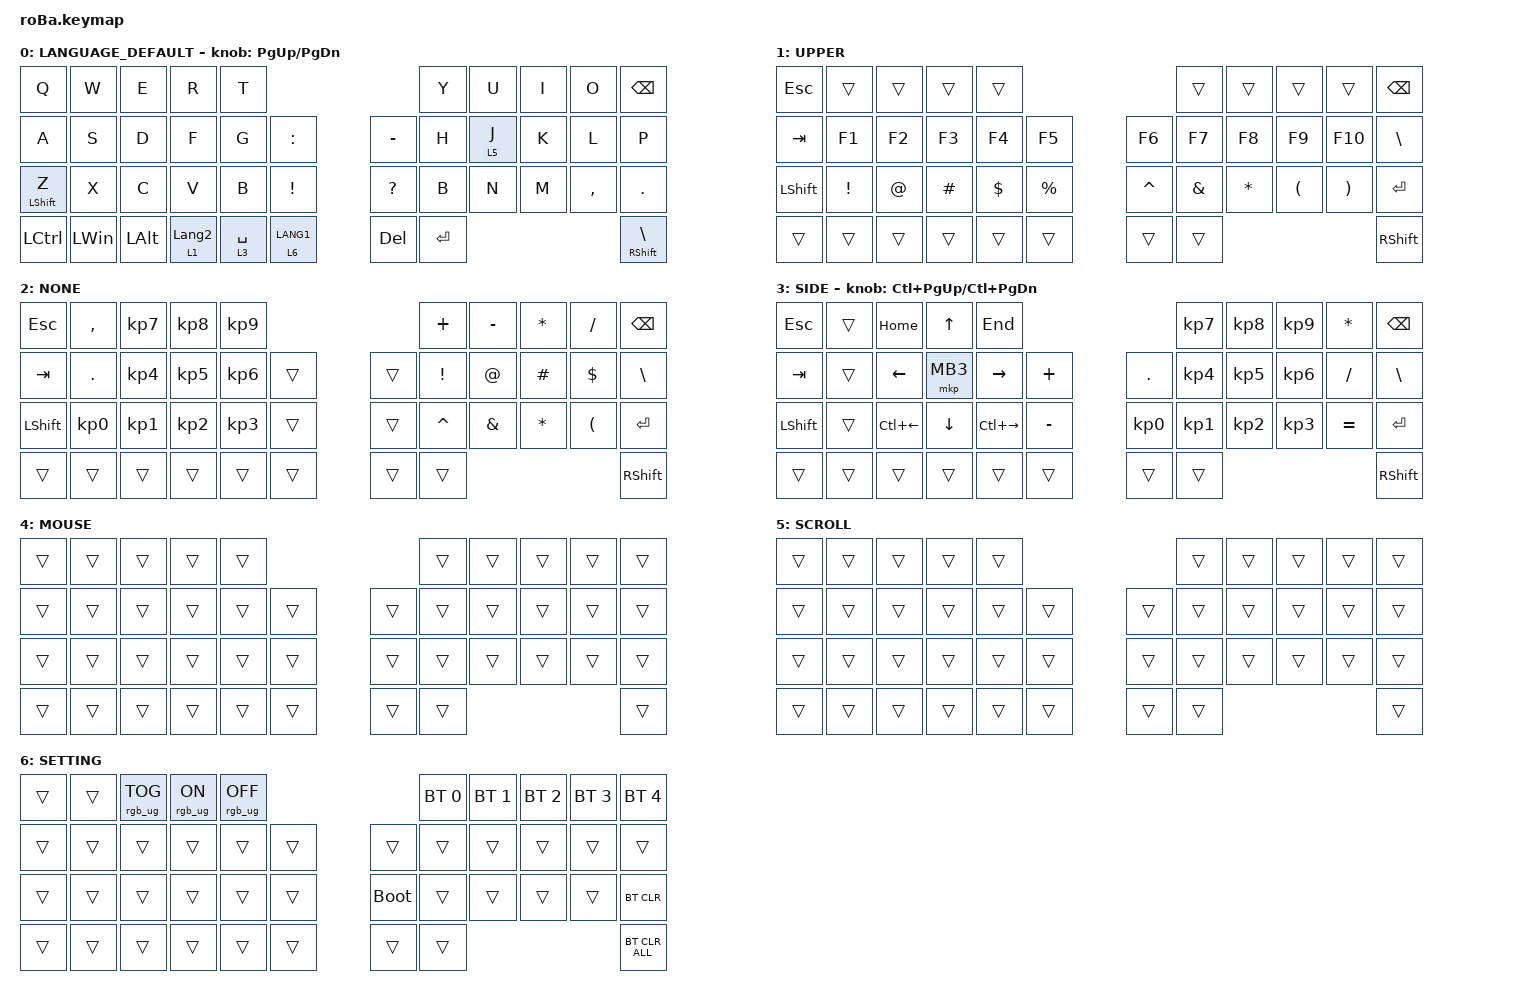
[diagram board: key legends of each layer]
#include <behaviors.dtsi>
#include <dt-bindings/zmk/bt.h>
#include <dt-bindings/zmk/keys.h>
#include <dt-bindings/zmk/pointing.h>
#include <dt-bindings/zmk/rgb.h>

&mt {
    flavor = "balanced";
    quick-tap-ms = <0>;
};

&trackball {
    automouse-layer = <4>;
    scroll-layers = <5>;

    // arrows {
    //     layers = <3>;
    //     bindings =
    //         <&kp RIGHT_ARROW>,
    //         <&kp LEFT_ARROW>,
    //         <&kp UP_ARROW>,
    //         <&kp DOWN_ARROW>;
    //     tick = <10>;
    //     wait-ms = <5>;
    //     tap-ms = <5>;
    // };
};

/ {
    combos {
        compatible = "zmk,combos";

        tab {
            bindings = <&kp TAB>;
            key-positions = <11 12>;
        };

        shift_tab {
            bindings = <&kp LS(TAB)>;
            key-positions = <12 13>;
        };

        muhennkann {
            bindings = <&to_layer_0 INT_MUHENKAN>;
            key-positions = <11 10>;
        };

        double_quotation {
            bindings = <&kp DOUBLE_QUOTES>;
            key-positions = <20 21>;
        };

        eq {
            bindings = <&kp EQUAL>;
            key-positions = <24 25>;
        };

        lclk {
            bindings = <&mkp LCLK>;
            key-positions = <17 18>;
            layers = <4>;
        };

        rclk {
            bindings = <&mkp RCLK>;
            key-positions = <18 19>;
            layers = <4>;
        };
    };

    macros {
        to_layer_0: to_layer_0 {
            compatible = "zmk,behavior-macro-one-param";
            #binding-cells = <1>;
            bindings = <&to 0 &macro_param_1to1 &kp MACRO_PLACEHOLDER>;
            label = "TO_LAYER_0";
        };
    };

    behaviors {
        lt_to_layer_0: lt_to_layer_0 {
            compatible = "zmk,behavior-hold-tap";
            label = "LAYER_TAP_TO_0";
            bindings = <&mo>, <&to_layer_0>;

            #binding-cells = <2>;
            tapping-term-ms = <200>;
        };
    };

    keymap {
        compatible = "zmk,keymap";

        LANGUAGE_DEFAULT {
            bindings = <
&kp Q             &kp W         &kp E         &kp R                        &kp T                                                  &kp Y      &kp U    &kp I  &kp O      &kp BACKSPACE
&kp A             &kp S         &kp D         &kp F                        &kp G        &kp COLON                   &kp MINUS     &kp H      &lt 5 J  &kp K  &kp L      &kp P
&mt LEFT_SHIFT Z  &kp X         &kp C         &kp V                        &kp B        &kp EXCLAMATION             &kp QUESTION  &kp B      &kp N    &kp M  &kp COMMA  &kp PERIOD
&kp LCTRL         &kp LEFT_WIN  &kp LEFT_ALT  &lt_to_layer_0 1 LANGUAGE_2  &lt 3 SPACE  &lt_to_layer_0 6 LANG1      &kp DELETE    &kp ENTER                             &mt RIGHT_SHIFT BACKSLASH
            >;

            sensor-bindings = <&inc_dec_kp PG_UP PAGE_DOWN>;
        };

        UPPER {
            bindings = <
&kp ESCAPE      &trans           &trans       &trans    &trans                                  &trans         &trans        &trans                &trans                 &kp BACKSPACE
&kp TAB         &kp F1           &kp F2       &kp F3    &kp F4      &kp F5           &kp F6     &kp F7         &kp F8        &kp F9                &kp F10                &kp BACKSLASH
&kp LEFT_SHIFT  &kp EXCLAMATION  &kp AT_SIGN  &kp HASH  &kp DOLLAR  &kp PERCENT      &kp CARET  &kp AMPERSAND  &kp ASTERISK  &kp LEFT_PARENTHESIS  &kp RIGHT_PARENTHESIS  &kp ENTER
&trans          &trans           &trans       &trans    &trans      &trans           &trans     &trans                                                                    &kp RIGHT_SHIFT
            >;
        };

        NONE {
            bindings = <
&kp ESC         &kp COMMA        &kp KP_NUMBER_7  &kp KP_NUMBER_8  &kp KP_NUMBER_9                      &kp PLUS         &kp MINUS      &kp ASTERISK  &kp SLASH             &kp BACKSPACE
&kp TAB         &kp PERIOD       &kp KP_NUMBER_4  &kp KP_NUMBER_5  &kp KP_NUMBER_6  &trans      &trans  &kp EXCLAMATION  &kp AT_SIGN    &kp HASH      &kp DOLLAR            &kp BACKSLASH
&kp LEFT_SHIFT  &kp KP_NUMBER_0  &kp KP_NUMBER_1  &kp KP_NUMBER_2  &kp KP_NUMBER_3  &trans      &trans  &kp CARET        &kp AMPERSAND  &kp ASTERISK  &kp LEFT_PARENTHESIS  &kp ENTER
&trans          &trans           &trans           &trans           &trans           &trans      &trans  &trans                                                              &kp RIGHT_SHIFT
            >;
        };

        SIDE {
            bindings = <
&kp ESCAPE      &trans  &kp HOME            &kp UP_ARROW  &kp END                                        &kp KP_NUMBER_7  &kp KP_NUMBER_8  &kp KP_NUMBER_9  &kp ASTERISK  &kp BACKSPACE
&kp TAB         &trans  &kp LEFT_ARROW      &mkp MB3      &kp RIGHT      &kp PLUS       &kp PERIOD       &kp KP_NUMBER_4  &kp KP_NUMBER_5  &kp KP_NUMBER_6  &kp SLASH     &kp BACKSLASH
&kp LEFT_SHIFT  &trans  &kp LC(LEFT_ARROW)  &kp DOWN      &kp LC(RIGHT)  &kp MINUS      &kp KP_NUMBER_0  &kp KP_NUMBER_1  &kp KP_NUMBER_2  &kp KP_NUMBER_3  &kp EQUAL     &kp ENTER
&trans          &trans  &trans              &trans        &trans         &trans         &trans           &trans                                                           &kp RIGHT_SHIFT
            >;

            sensor-bindings = <&inc_dec_kp LC(PAGE_UP) LC(PAGE_DOWN)>;
        };

        MOUSE {
            bindings = <
&trans  &trans  &trans  &trans  &trans                      &trans  &trans  &trans  &trans  &trans
&trans  &trans  &trans  &trans  &trans  &trans      &trans  &trans  &trans  &trans  &trans  &trans
&trans  &trans  &trans  &trans  &trans  &trans      &trans  &trans  &trans  &trans  &trans  &trans
&trans  &trans  &trans  &trans  &trans  &trans      &trans  &trans                          &trans
            >;
        };

        SCROLL {
            bindings = <
&trans  &trans  &trans  &trans  &trans                      &trans  &trans  &trans  &trans  &trans
&trans  &trans  &trans  &trans  &trans  &trans      &trans  &trans  &trans  &trans  &trans  &trans
&trans  &trans  &trans  &trans  &trans  &trans      &trans  &trans  &trans  &trans  &trans  &trans
&trans  &trans  &trans  &trans  &trans  &trans      &trans  &trans                          &trans
            >;
        };

        SETTING {
            bindings = <
&trans  &trans  &rgb_ug RGB_TOG  &rgb_ug RGB_ON  &rgb_ug RGB_OFF                           &bt BT_SEL 0  &bt BT_SEL 1  &bt BT_SEL 2  &bt BT_SEL 3  &bt BT_SEL 4
&trans  &trans  &trans           &trans          &trans           &trans      &trans       &trans        &trans        &trans        &trans        &trans
&trans  &trans  &trans           &trans          &trans           &trans      &bootloader  &trans        &trans        &trans        &trans        &bt BT_CLR
&trans  &trans  &trans           &trans          &trans           &trans      &trans       &trans                                                  &bt BT_CLR_ALL
            >;
        };
    };
};
